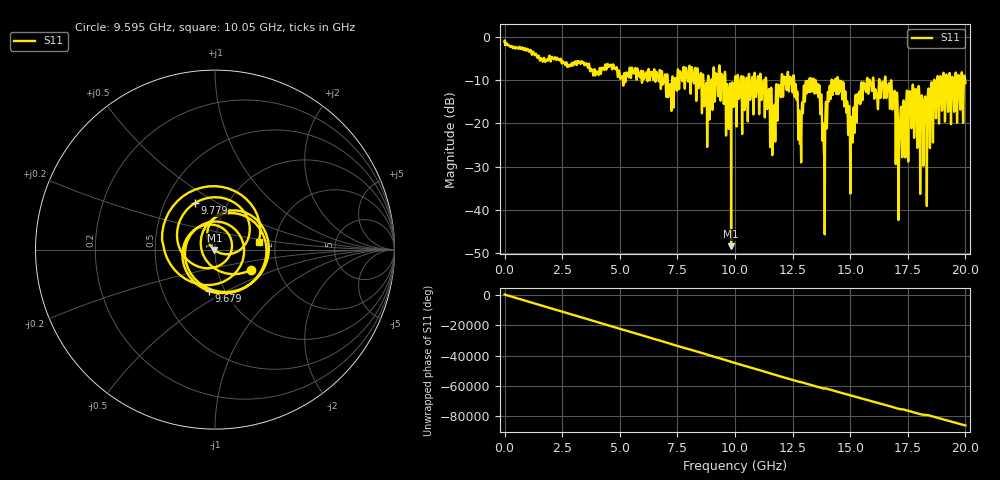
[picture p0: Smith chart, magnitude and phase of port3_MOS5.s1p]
! MS46122B
! 2250307/22442219
! 6/16/2025 12:53:04 PM
! C:\USERS\SPARKY\DOCUMENTS\VNA_DATA\JUNE16_2025\295K\PORT3_MOS5.S1P
! CHANNEL.1
! TR.MEASUREMENT
! RAW.DATA
# GHZ S RI R 50.0
! FREQ.GHZ  S11RE  S11IM
!; PortSelection: Port_1
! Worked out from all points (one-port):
!   10001 points, 1 MHz to 20 GHz, reference 50 ohm
!   lowest |S11| = -48.5 dB at 9.833 GHz (marker M1), VSWR 1.01, Z = 49.7 - j0.161 ohm
!   |S11| at or under -10 dB: 13.5 GHz to 14.19 GHz (686 MHz wide, 4.95 % of centre); 14.47 GHz to 15.73 GHz (1.26 GHz wide, 8.34 % of centre); 16.78 GHz to 18.64 GHz (1.862 GHz wide, 10.5 % of centre) (the widest 3 of 74)
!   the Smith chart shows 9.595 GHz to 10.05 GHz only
!   S11 on the Smith chart (normalised r, x): 9.595 GHz: 1.45, -0.35; 9.679 GHz: 0.84, -0.41; 9.779 GHz: 0.70, +0.40; 10.05 GHz: 1.64, +0.16
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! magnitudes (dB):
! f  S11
! 1 MHz  -1.0
! 2.501 GHz  -5.9
! 5.001 GHz  -9.1
! 7.501 GHz  -9.2
! 9.595 GHz  -12.8
! 9.679 GHz  -12.6
! 9.779 GHz  -11.0
! 9.833 GHz  -48.5
! 10 GHz  -10.5
! 10.05 GHz  -12.1
! 11.17 GHz  -12.6
! 11.68 GHz  -17.4
! 11.96 GHz  -11.7
! 12.5 GHz  -12.8
! 12.82 GHz  -24.3
! 13.07 GHz  -10.4
! 13.41 GHz  -9.6
! 13.89 GHz  -32.3
! 14.11 GHz  -11.2
! 14.37 GHz  -9.8
! 15 GHz  -30.3
! 15.81 GHz  -11.2
! 16.85 GHz  -15.9
! 17.17 GHz  -18.9
! 17.5 GHz  -17.9
! 18.25 GHz  -13.7
! 18.72 GHz  -18.8
! 20 GHz  -10.6
